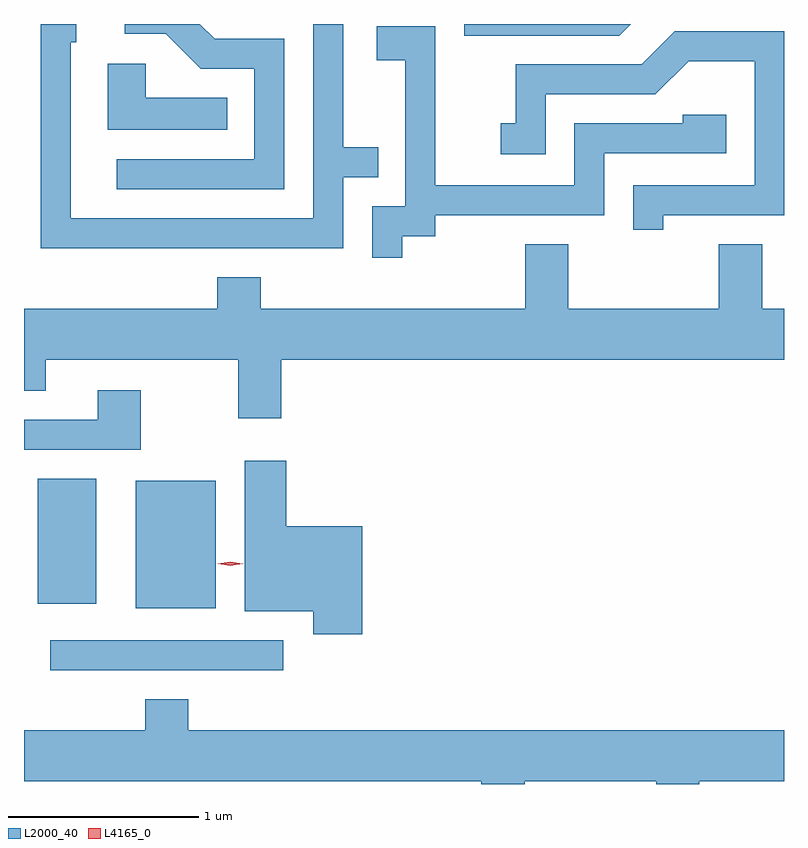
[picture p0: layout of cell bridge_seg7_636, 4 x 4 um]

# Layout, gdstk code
import gdstk
lib = gdstk.Library(unit=1e-6, precision=1e-09)
def R(c, l, rs):  # rectangles x0, y0, x1, y1
    for r in rs: c.add(gdstk.rectangle(r[:2], r[2:], *l))
def P(c, l, *ps):  # polygons
    for p in ps: c.add(gdstk.Polygon(p, *l))
L2000_40 = (2000, 40)
L4165_0 = (4165, 0)

bridge_seg7_636 = lib.new_cell('bridge_seg7_636')
R(bridge_seg7_636, L2000_40, [(624.953,1686.041,626.178,1686.199), (625.401,1686.366,625.824,1687.039), (624.886,1686.391,625.194,1687.049)])
P(bridge_seg7_636, L2000_40, [(626.184,1689.364),(625.817,1689.364),(625.739,1689.442),(625.343,1689.442),(625.343,1689.391),(625.559,1689.391),(625.744,1689.206),(626.026,1689.206),(626.026,1688.729),(625.303,1688.729),(625.303,1688.571),(626.184,1688.571)],
  [(628.008,1689.442),(627.131,1689.442),(627.131,1689.381),(627.947,1689.381)],
  [(626.494,1688.636),(626.678,1688.636),(626.678,1688.794),(626.494,1688.794),(626.494,1689.442),(626.336,1689.442),(626.336,1688.419),(625.059,1688.419),(625.059,1689.346),(625.089,1689.346),(625.089,1689.442),(624.901,1689.442),(624.901,1688.261),(626.494,1688.261)],
  [(626.804,1688.326),(626.979,1688.326),(626.979,1688.436),(627.869,1688.436),(627.869,1688.761),(628.509,1688.761),(628.509,1688.964),(628.281,1688.964),(628.281,1688.919),(627.711,1688.919),(627.711,1688.594),(626.979,1688.594),(626.979,1689.429),(626.671,1689.429),(626.671,1689.251),(626.821,1689.251),(626.821,1688.484),(626.646,1688.484),(626.646,1688.213),(626.804,1688.213)],
  [(628.179,1688.436),(628.814,1688.436),(628.814,1689.404),(628.239,1689.404),(628.064,1689.229),(627.401,1689.229),(627.401,1688.919),(627.323,1688.919),(627.323,1688.756),(627.559,1688.756),(627.559,1689.071),(628.137,1689.071),(628.312,1689.246),(628.661,1689.246),(628.661,1688.594),(628.021,1688.594),(628.021,1688.358),(628.179,1688.358)],
  [(625.883,1689.054),(625.454,1689.054),(625.454,1689.234),(625.256,1689.234),(625.256,1688.886),(625.883,1688.886)],
  [(626.169,1687.676),(628.814,1687.676),(628.814,1687.944),(628.699,1687.944),(628.699,1688.284),(628.471,1688.284),(628.471,1687.944),(627.679,1687.944),(627.679,1688.284),(627.451,1688.284),(627.451,1687.944),(626.059,1687.944),(626.059,1688.109),(625.831,1688.109),(625.831,1687.944),(624.814,1687.944),(624.814,1687.511),(624.929,1687.511),(624.929,1687.676),(625.941,1687.676),(625.941,1687.366),(626.169,1687.366)],
  [(625.429,1687.514),(625.201,1687.514),(625.201,1687.359),(624.814,1687.359),(624.814,1687.201),(625.429,1687.201)],
  [(626.594,1686.799),(626.194,1686.799),(626.194,1687.144),(625.976,1687.144),(625.976,1686.351),(626.336,1686.351),(626.336,1686.231),(626.594,1686.231)],
  [(627.449,1685.456),(628.141,1685.456),(628.141,1685.442),(628.369,1685.442),(628.369,1685.456),(628.814,1685.456),(628.814,1685.724),(625.679,1685.724),(625.679,1685.889),(625.451,1685.889),(625.451,1685.724),(624.814,1685.724),(624.814,1685.456),(627.221,1685.456),(627.221,1685.442),(627.449,1685.442)])
P(bridge_seg7_636, L4165_0, [(625.9,1686.591),(625.834,1686.601),(625.833,1686.601),(625.834,1686.602),(625.9,1686.611),(625.966,1686.602),(625.967,1686.601),(625.966,1686.601)])

lib.write_gds('bridge_seg7_636.gds')
